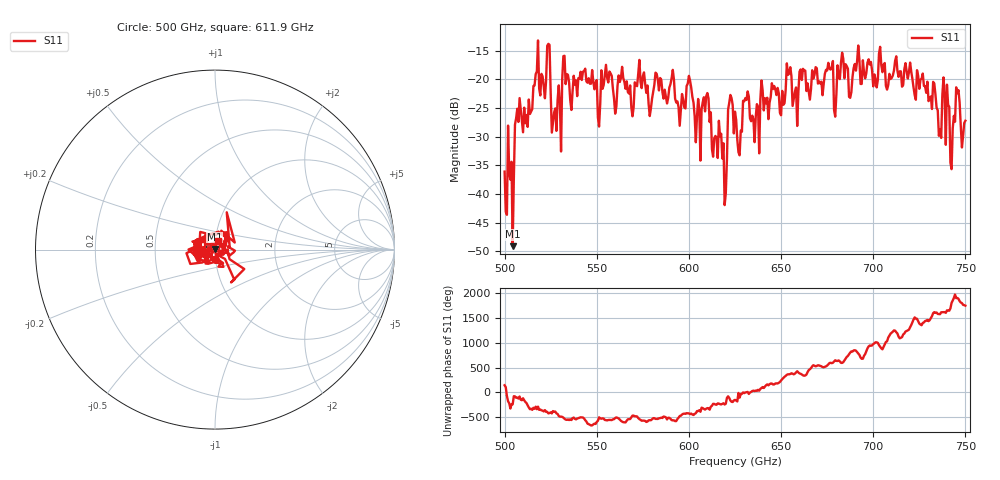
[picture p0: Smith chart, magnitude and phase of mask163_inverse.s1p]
!Created with skrf (http://scikit-rf.org).
# GHz S MA R 50.0
!freq magS11 angS11
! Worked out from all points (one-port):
!   401 points, 500 GHz to 750 GHz, reference 50 ohm
!   lowest |S11| = -49.1 dB at 504.4 GHz (marker M1), VSWR 1.01, Z = 49.8 + j0.307 ohm
!   |S11| at or under -10 dB: start of sweep to end of sweep
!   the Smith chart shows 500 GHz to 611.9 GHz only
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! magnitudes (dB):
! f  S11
! 500 GHz  -36.1
! 504.4 GHz  -49.1
! 506.9 GHz  -25.1
! 513.8 GHz  -26.1
! 516.9 GHz  -19.1
! 523.8 GHz  -13.8
! 526.9 GHz  -25.8
! 531.2 GHz  -20.0
! 562.5 GHz  -20.5
! 579.4 GHz  -25.1
! 590.6 GHz  -19.8
! 593.8 GHz  -23.9
! 600 GHz  -19.4
! 605 GHz  -23.4
! 609.4 GHz  -23.0
! 619.4 GHz  -42.0
! 622.5 GHz  -22.7
! 625 GHz  -25.7
! 656.2 GHz  -24.7
! 683.8 GHz  -16.4
! 687.5 GHz  -23.2
! 691.2 GHz  -16.8
! 718.8 GHz  -19.9
! 735.6 GHz  -29.9
! 738.8 GHz  -22.9
! 743.1 GHz  -28.6
! 745.6 GHz  -22.4
! 750 GHz  -27.2
